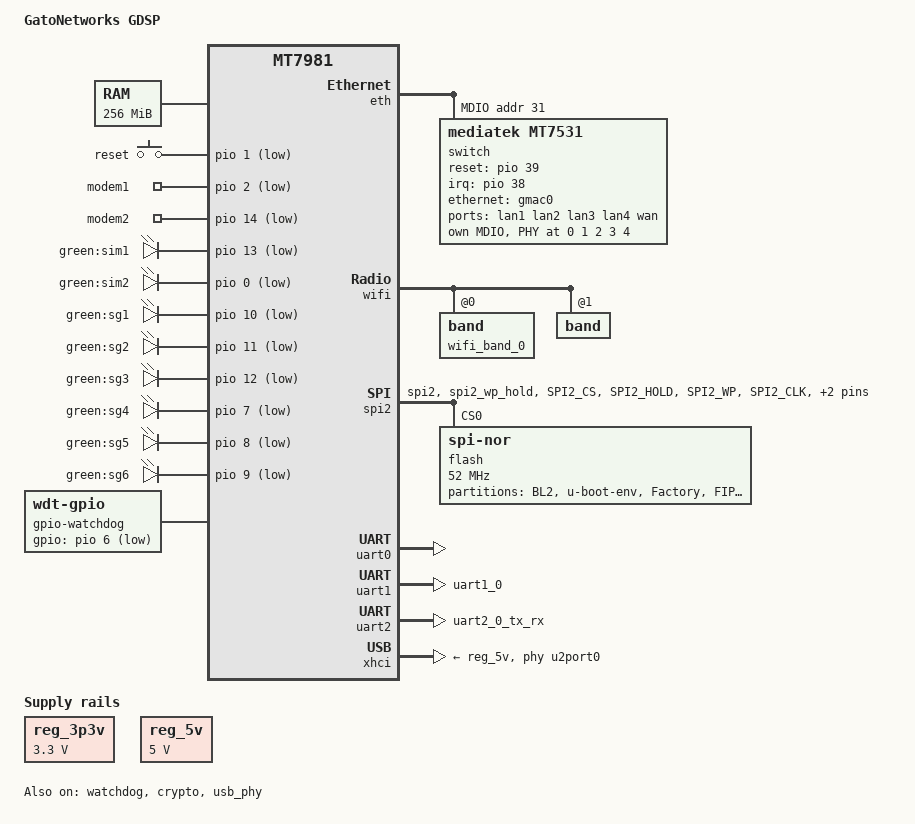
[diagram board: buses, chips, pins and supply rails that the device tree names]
// SPDX-License-Identifier: GPL-2.0-or-later OR MIT

/dts-v1/;
#include "mt7981.dtsi"

/ {
	model = "GatoNetworks GDSP";
	compatible = "gatonetworks,gdsp", "mediatek,mt7981";

	aliases {
		serial0 = &uart0;
		label-mac-device = &wifi_band_0;
		led-boot = &sg1;
		led-failsafe = &sg1;
		led-running = &sg1;
		led-upgrade = &sg1;
	};

	chosen {
		stdout-path = "serial0:115200n8";
		bootargs = "console=ttyS0,115200n1 earlycon=uart8250,mmio32,0x11002000";
		rootdisk = <&firmware>;
	};

	memory {
		reg = <0 0x40000000 0 0x10000000>;
	};

	reg_3p3v: regulator-3p3v {
		compatible = "regulator-fixed";
		regulator-name = "fixed-3.3V";
		regulator-min-microvolt = <3300000>;
		regulator-max-microvolt = <3300000>;
		regulator-boot-on;
		regulator-always-on;
	};

	reg_5v: regulator-5v {
		compatible = "regulator-fixed";
		regulator-name = "fixed-5V";
		regulator-min-microvolt = <5000000>;
		regulator-max-microvolt = <5000000>;
		regulator-boot-on;
		regulator-always-on;
	};

	gpio-keys {
		compatible = "gpio-keys";

		reset {
			label = "reset";
			linux,code = <KEY_RESTART>;
			gpios = <&pio 1 GPIO_ACTIVE_LOW>;
		};
	};

	gpio-export {
		compatible = "gpio-export";

		modem1 {
			gpio-export,name = "modem1";
			gpio-export,output = <0>;
			gpios = <&pio 2 GPIO_ACTIVE_LOW>;
		};

		modem2 {
			gpio-export,name = "modem2";
			gpio-export,output = <0>;
			gpios = <&pio 14 GPIO_ACTIVE_LOW>;
		};
	};

	leds {
		compatible = "gpio-leds";

		sim1 {
			label = "green:sim1";
			gpios = <&pio 13 GPIO_ACTIVE_LOW>;
		};

		sim2 {
			label = "green:sim2";
			gpios = <&pio 0 GPIO_ACTIVE_LOW>;
		};

		sg1: sg1 {
			label = "green:sg1";
			gpios = <&pio 10 GPIO_ACTIVE_LOW>;
		};

		sg2 {
			label = "green:sg2";
			gpios = <&pio 11 GPIO_ACTIVE_LOW>;
		};

		sg3 {
			label = "green:sg3";
			gpios = <&pio 12 GPIO_ACTIVE_LOW>;
		};

		sg4 {
			label = "green:sg4";
			gpios = <&pio 7 GPIO_ACTIVE_LOW>;
		};

		sg5 {
			label = "green:sg5";
			gpios = <&pio 8 GPIO_ACTIVE_LOW>;
		};

		sg6 {
			label = "green:sg6";
			gpios = <&pio 9 GPIO_ACTIVE_LOW>;
		};
	};

	gpio-watchdog {
		compatible = "linux,wdt-gpio";
		gpios = <&pio 6 GPIO_ACTIVE_LOW>;
		hw_algo = "toggle";
		hw_margin_ms = <25000>;
		always-running;
	};
};

&watchdog {
	status = "okay";
};

&eth {
	status = "okay";

	gmac0: mac@0 {
		compatible = "mediatek,eth-mac";
		reg = <0>;
		phy-mode = "2500base-x";

		nvmem-cells = <&macaddr_lan>;
		nvmem-cell-names = "mac-address";

		fixed-link {
			speed = <2500>;
			full-duplex;
			pause;
		};
	};

	mdio: mdio-bus {
		#address-cells = <1>;
		#size-cells = <0>;

		switch@1f {
			compatible = "mediatek,mt7531";
			reg = <31>;
			reset-gpios = <&pio 39 0>;
			interrupt-controller;
			#interrupt-cells = <1>;
			interrupt-parent = <&pio>;
			interrupts = <38 IRQ_TYPE_LEVEL_HIGH>;

			mdio {
				#address-cells = <1>;
				#size-cells = <0>;

				swphy0: phy@0 {
					reg = <0>;
				};

				swphy1: phy@1 {
					reg = <1>;
				};

				swphy2: phy@2 {
					reg = <2>;
				};

				swphy3: phy@3 {
					reg = <3>;
				};

				swphy4: phy@4 {
					reg = <4>;
				};
			};

			ports {
				#address-cells = <1>;
				#size-cells = <0>;

				port@0 {
					reg = <0>;
					label = "lan1";
					phy-handle = <&swphy0>;
				};

				port@1 {
					reg = <1>;
					label = "lan2";
					phy-handle = <&swphy1>;
				};

				port@2 {
					reg = <2>;
					label = "lan3";
					phy-handle = <&swphy2>;
				};

				port@3 {
					reg = <3>;
					label = "lan4";
					phy-handle = <&swphy3>;
				};

				port@4 {
					reg = <4>;
					label = "wan";
					nvmem-cells = <&macaddr_wan>;
					nvmem-cell-names = "mac-address";
					phy-handle = <&swphy4>;
				};

				port@6 {
					reg = <6>;
					ethernet = <&gmac0>;
					phy-mode = "2500base-x";

					fixed-link {
						speed = <2500>;
						full-duplex;
						pause;
					};
				};
			};
		};
	};
};

&crypto {
	status = "okay";
};

&wifi {
	mediatek,mtd-eeprom = <&factory 0x0>;
	status = "okay";

	wifi_band_0: band@0 {
		reg = <0>;
		nvmem-cells = <&macaddr_wifi 0>;
		nvmem-cell-names = "mac-address";
	};

	band@1 {
		reg = <1>;
		nvmem-cells = <&macaddr_wifi 1>;
		nvmem-cell-names = "mac-address";
	};
};

&spi2 {
	pinctrl-names = "default";
	pinctrl-0 = <&spi2_flash_pins>;
	status = "okay";

	flash@0 {
		#address-cells = <1>;
		#size-cells = <1>;
		compatible = "jedec,spi-nor";
		reg = <0>;
		spi-max-frequency = <52000000>;

		partitions {
			compatible = "fixed-partitions";
			#address-cells = <1>;
			#size-cells = <1>;

			partition@00000 {
				label = "BL2";
				reg = <0x00000 0x0040000>;
				read-only;
			};

			partition@40000 {
				label = "u-boot-env";
				reg = <0x40000 0x0010000>;
			};

			factory: partition@50000 {
				label = "Factory";
				reg = <0x50000 0x00B0000>;
				read-only;

				nvmem-layout {
					compatible = "fixed-layout";
					#address-cells = <1>;
					#size-cells = <1>;

					macaddr_wifi: macaddr@4 {
						reg = <0x4 0x6>;
						compatible = "mac-base";
						#nvmem-cell-cells = <1>;
					};

					macaddr_wan: macaddr@24 {
						reg = <0x24 0x6>;
					};

					macaddr_lan: macaddr@2a {
						reg = <0x2a 0x6>;
					};
				};
			};

			partition@100000 {
				label = "FIP";
				reg = <0x100000 0x0080000>;
				read-only;
			};

			firmware: partition@180000 {
				label = "firmware";
				reg = <0x180000 0x1E80000>;
			};
		};
	};
};

&pio {
	uart1_pins: uart1-pins {
		mux {
			function = "uart";
			groups = "uart1_0";
		};
	};

	uart2_pins: uart2-pins {
		mux {
			function = "uart";
			groups = "uart2_0_tx_rx";
		};
	};

	spi2_flash_pins: spi2-pins {
		mux {
			function = "spi";
			groups = "spi2", "spi2_wp_hold";
		};

		conf-pu {
			pins = "SPI2_CS", "SPI2_HOLD", "SPI2_WP";
			drive-strength = <MTK_DRIVE_8mA>;
			bias-pull-up = <MTK_PUPD_SET_R1R0_11>;
		};

		conf-pd {
			pins = "SPI2_CLK", "SPI2_MOSI", "SPI2_MISO";
			drive-strength = <MTK_DRIVE_8mA>;
			bias-pull-down = <MTK_PUPD_SET_R1R0_11>;
		};
	};
};

&uart0 {
	status = "okay";
};

&uart1 {
	pinctrl-names = "default";
	pinctrl-0 = <&uart1_pins>;
	status = "okay";
};

&uart2 {
	pinctrl-names = "default";
	pinctrl-0 = <&uart2_pins>;
	status = "okay";
};

&usb_phy {
	status = "okay";
};

&xhci {
	mediatek,u3p-dis-msk = <0x0>;
	phys = <&u2port0 PHY_TYPE_USB2>,
	       <&u3port0 PHY_TYPE_USB3>;
	status = "okay";
	vusb33-supply = <&reg_3p3v>;
	vbus-supply = <&reg_5v>;
};
